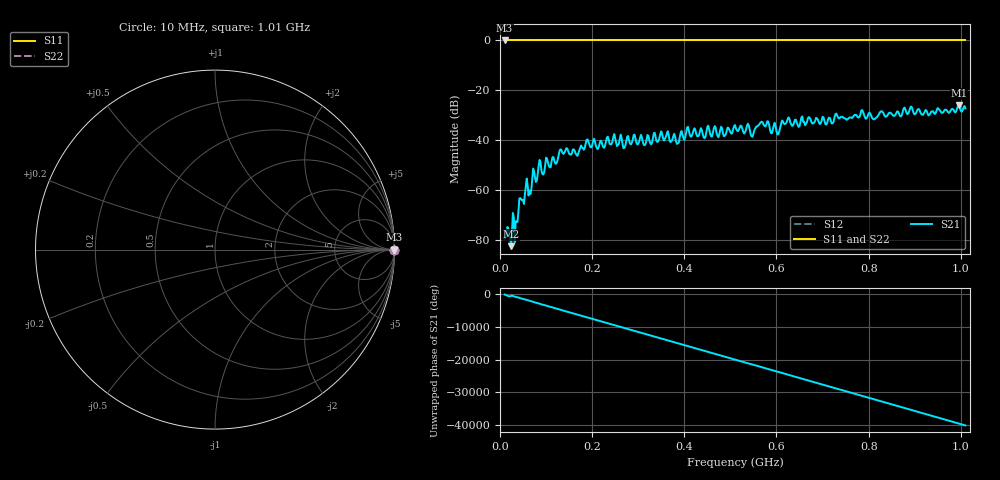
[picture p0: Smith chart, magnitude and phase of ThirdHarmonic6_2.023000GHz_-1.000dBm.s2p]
! 8/17/2025 12:17:03 AM
! C:\ANRITSUVNA\TEMP\TEMP.S2P
! CHANNEL.1
! TR.MEASUREMENT
! RAW.DATA
! RF.CORRECTION.OFF
! AVERAGING.OFF
! IF.BANDWIDTH: 5KHZ
! SWEEPTYPE:  FREQ.SWEEP(Linear)
! Reference Plane Port Info
! PORT:  PORT1  PORT2
! DISTANCE:  0  m  0  m
! TIME:  0  s  0  s
! PHASE.OFFSET:  0  deg.  0  deg.
! LOSS:  0  dB  0  dB
! REF.LOSS:  0  dB  0  dB
! REF.FREQ:  0  Hz  0  Hz
! Power Info
! POWER:  -20  dBm  -20  dBm
! EFF.POWER:  -20  dBm  -20  dBm
! SOURCE.ATTEN:  0  dB  0  dB
! TEST.ATTEN:  0  dB  0  dB
# GHZ S RI R 50.0
! FREQ.GHZ  S11RE  S11IM  S21RE  S21IM  S12RE  S12IM  S22RE  S22IM
!; PortSelection: Port_12
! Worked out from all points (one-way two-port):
!   501 points, 10 MHz to 1.01 GHz, reference 50 ohm
!   highest |S21| = -26.02 dB at 996 MHz (marker M1); lowest = -82.4 dB at 24 MHz (marker M2)
!   lowest |S11| = 0.0 dB at 10 MHz (marker M3)
!   |S11| at or under -10 dB: nowhere
!   |S22| runs from 0.0 to 0.0 dB; largest |S21 - S12| = 1
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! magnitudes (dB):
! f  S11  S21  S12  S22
! 10 MHz  0.0  -79.4  0.0  0.0
! 24 MHz  0.0  -82.4  0.0  0.0
! 36 MHz  0.0  -72.4  0.0  0.0
! 46 MHz  0.0  -63.6  0.0  0.0
! 66 MHz  0.0  -61.6  0.0  0.0
! 72 MHz  0.0  -51.4  0.0  0.0
! 86 MHz  0.0  -47.9  0.0  0.0
! 94 MHz  0.0  -53.7  0.0  0.0
! 132 MHz  0.0  -43.6  0.0  0.0
! 178 MHz  0.0  -42.9  0.0  0.0
! 248 MHz  0.0  -37.5  0.0  0.0
! 344 MHz  0.0  -40.3  0.0  0.0
! 510 MHz  0.0  -33.9  0.0  0.0
! 538 MHz  0.0  -33.3  0.0  0.0
! 548 MHz  0.0  -38.6  0.0  0.0
! 566 MHz  0.0  -32.8  0.0  0.0
! 604 MHz  0.0  -37.5  0.0  0.0
! 624 MHz  0.0  -31.6  0.0  0.0
! 678 MHz  0.0  -33.3  0.0  0.0
! 844 MHz  0.0  -29.1  0.0  0.0
! 996 MHz  0.0  -26.0  0.0  0.0
! 1.01 GHz  0.0  -27.2  0.0  0.0
